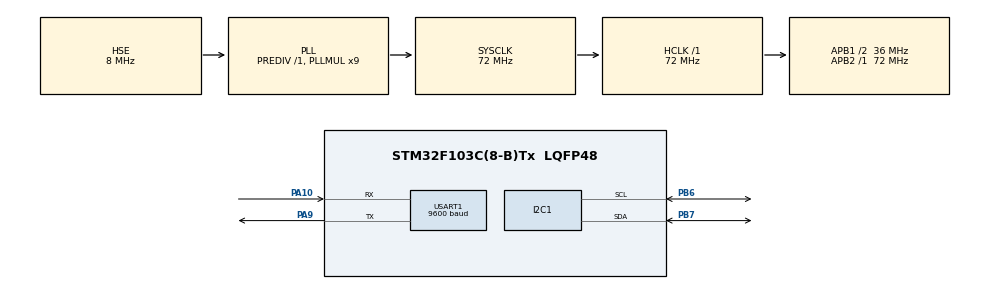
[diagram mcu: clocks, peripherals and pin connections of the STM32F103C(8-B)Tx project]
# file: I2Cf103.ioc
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Mcu.Family=STM32F1
Mcu.Name=STM32F103C(8-B)Tx
Mcu.Package=LQFP48
NVIC.PriorityGroup=NVIC_PRIORITYGROUP_4
NVIC.USART1_IRQn=true\:0\:0\:false\:false\:true\:true\:true\:true
PA10.Mode=Asynchronous
PA10.Signal=USART1_RX
PA13.Mode=Serial_Wire
PA13.Signal=SYS_JTMS-SWDIO
PA14.Mode=Serial_Wire
PA14.Signal=SYS_JTCK-SWCLK
PA9.Mode=Asynchronous
PA9.Signal=USART1_TX
PB6.Mode=I2C
PB6.Signal=I2C1_SCL
PB7.Mode=I2C
PB7.Signal=I2C1_SDA
PD0-OSC_IN.Mode=HSE-External-Oscillator
PD0-OSC_IN.Signal=RCC_OSC_IN
PD1-OSC_OUT.Mode=HSE-External-Oscillator
PD1-OSC_OUT.Signal=RCC_OSC_OUT
ProjectManager.HeapSize=0x200
ProjectManager.StackSize=0x400
ProjectManager.TargetToolchain=Makefile
RCC.AHBFreq_Value=72000000
RCC.APB1CLKDivider=RCC_HCLK_DIV2
RCC.APB1Freq_Value=36000000
RCC.APB1TimFreq_Value=72000000
RCC.APB2Freq_Value=72000000
RCC.APB2TimFreq_Value=72000000
RCC.HCLKFreq_Value=72000000
RCC.PLLMUL=RCC_PLL_MUL9
RCC.PLLSourceVirtual=RCC_PLLSOURCE_HSE
RCC.SYSCLKFreq_VALUE=72000000
RCC.SYSCLKSource=RCC_SYSCLKSOURCE_PLLCLK
RCC.USBFreq_Value=72000000
USART1.BaudRate=9600
USART1.VirtualMode=VM_ASYNC
board=custom

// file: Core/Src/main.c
/* USER CODE BEGIN Header */
/**
  ******************************************************************************
  * @file           : main.c
  * @brief          : Main program body
  ******************************************************************************
  * @attention
  *
  * Copyright (c) 2024 STMicroelectronics.
  * All rights reserved.
  *
  * This software is licensed under terms that can be found in the LICENSE file
  * in the root directory of this software component.
  * If no LICENSE file comes with this software, it is provided AS-IS.
  *
  ******************************************************************************
  */
/* USER CODE END Header */
#include "main.h"

/* USER CODE BEGIN Includes */
#include<stdio.h>
#include"string.h"
#include"stdbool.h"
/* USER CODE END Includes */

I2C_HandleTypeDef hi2c1;

UART_HandleTypeDef huart1;

void SystemClock_Config(void);
static void MX_GPIO_Init(void);
static void MX_I2C1_Init(void);
static void MX_USART1_UART_Init(void);

/* USER CODE BEGIN 0 */
const uint8_t DS1307_ADDRESS_WRITE =  0xD0;
const uint8_t DS1307_ADDRESS_READ =  0xD1;
const uint8_t F8574_ADDRESS = 0x4E;
uint8_t res[50];
int rx_index = 0;
uint8_t data_buffer[9];
uint8_t data_receive;
bool IT_flag = 0;
uint32_t last_time_IT = 0;

uint8_t Dec_to_BCD(uint8_t dec) {
    return ((dec / 10) << 4) | (dec % 10);
}

uint8_t BCD_to_Dec(uint8_t bcd) {
    return ((bcd >> 4) * 10) + (bcd & 0x0F);
}
void DS1307_SetTime(uint8_t hours, uint8_t minutes, uint8_t seconds)
{
    uint8_t data[4];

	data[0] = 0x00;
    data[1] = Dec_to_BCD(seconds);
	data[2] = Dec_to_BCD(minutes);
    data[3] = Dec_to_BCD(hours);

	HAL_I2C_Master_Transmit(&hi2c1,DS1307_ADDRESS_WRITE , &data[0], 4, 100);

}

void DS1307_SetDate(uint8_t day, uint8_t month, uint16_t year)
{
    uint8_t data[4];

	data[0] = 0x04;
    data[1] = Dec_to_BCD(day);
    data[2] = Dec_to_BCD(month);
	data[3] = Dec_to_BCD(year);

	HAL_I2C_Master_Transmit(&hi2c1, DS1307_ADDRESS_WRITE , &data[0], 4, 100);
}

void DS1307_GetTime(uint8_t *hours, uint8_t *minutes, uint8_t *seconds)
{
    uint8_t data[3];
	uint8_t reg = 0x00;

	HAL_I2C_Master_Transmit(&hi2c1, DS1307_ADDRESS_WRITE , &reg, 1, 10);
	HAL_I2C_Master_Receive(&hi2c1, DS1307_ADDRESS_READ, &data[0], 3, 50);
    *seconds = BCD_to_Dec(data[0]);
	*minutes = BCD_to_Dec(data[1]);
    *hours   = BCD_to_Dec(data[2]);
}

void DS1307_GetDate(uint8_t *day, uint8_t *month, uint16_t *year)
{
    uint8_t data[3];
	uint8_t reg = 0x04;

	HAL_I2C_Master_Transmit(&hi2c1, DS1307_ADDRESS_WRITE,&reg, 1, 100);
	HAL_I2C_Master_Receive(&hi2c1, DS1307_ADDRESS_READ, &data[0], 3, 100);
    *day    = BCD_to_Dec(data[0]);
    *month  = BCD_to_Dec(data[1]);
    *year   = 2000 + BCD_to_Dec(data[2]);
}

void lcd_send_cmd(uint8_t cmd)
{
    uint8_t data_u, data_l;
    uint8_t data_t[4];

    data_u = (cmd & 0xF0);
	data_l = (cmd << 4);
    data_t[0] = data_u | 0x0C;
	data_t[1] = data_u | 0x08;

	data_t[2] = data_l | 0x0C;
	data_t[3] = data_l | 0x08;

    HAL_I2C_Master_Transmit(&hi2c1,F8574_ADDRESS , data_t, 4, 100);
}

void lcd_send_data(uint8_t data)
{
    uint8_t data_u, data_l;
    uint8_t data_t[4];

    data_u = (data & 0xF0);
	data_l = (data << 4);

	data_t[0] = data_u | 0x0D;
	data_t[1] = data_u | 0x09;

	data_t[2] = data_l | 0x0D;
	data_t[3] = data_l | 0x09;

    HAL_I2C_Master_Transmit(&hi2c1, F8574_ADDRESS , data_t, 4, 100);
}

void lcd_init(void) {

    HAL_Delay(50);

    lcd_send_cmd(0x30);
    HAL_Delay(5);
    lcd_send_cmd(0x30);
    HAL_Delay(1);
    lcd_send_cmd(0x30);
    HAL_Delay(10);

    lcd_send_cmd(0x20);
    HAL_Delay(10);

    lcd_send_cmd(0x28);
    HAL_Delay(1);
    lcd_send_cmd(0x08);
    HAL_Delay(1);
    lcd_send_cmd(0x01);
    HAL_Delay(1);
    lcd_send_cmd(0x06);
    HAL_Delay(1);
    lcd_send_cmd(0x0C);
}

void lcd_clear(void)
{
    lcd_send_cmd(0x01);
	HAL_Delay(2);
}

void lcd_put_cur(int row, int col)
{
    uint8_t addr = (row == 0) ? (0x80 + col) : (0xC0 + col);
	lcd_send_cmd(addr);
}

void lcd_send_string(char *str)
{
    while (*str)
    {
        lcd_send_data(*str++);
	}
}

bool check_len_data(int rx_index)
{
	int buffer_len = rx_index;
	if(buffer_len  < 8)
	{
		strcpy((char*)res,"Error: Thieu du lieu\r\n");
		return 0;
	}else if(buffer_len > 8)
	{
		strcpy((char*)res,"Error: Thua du lieur\r\n");
		return 0;
	}
	return 1;
}

bool check_form_data(uint8_t buffer[])
{
	if(buffer[0] == '*' && buffer[strlen((char*)buffer) - 1] == '#')
	{
		return 1;
	}

	strcpy((char*)res,"Error: Sai cu phap\r\n");
	return 0;
}

bool is_leap_year(uint16_t year)
{
	if(year % 4 == 0 && year % 100 != 0)
	{
		return 1;
	}

	if(year % 400 == 0)
	{
		return 1;
	}
	return 0;
}

uint8_t days_in_feb(uint16_t year)
{
	if(is_leap_year(year) == 1)
	{
		return 29;
	}

	return 28;

}

bool is_valid_date(uint8_t day, uint8_t month, uint16_t year)
{
	if(year < 0)
	{
		strcpy((char*)res,"Error: Nam khong hop le\r\n");
		return 0;
	}

	if(month < 1 || month > 12)
	{
		strcpy((char*)res,"Error: Thang khong hop le\r\n");
		return 0;
	}

	uint8_t days_in_year[12] = {31,days_in_feb(year), 31, 30, 31, 30, 31, 31, 30, 31, 30, 31};

	if(day < 1 || day > days_in_year[month - 1])
	{
		strcpy((char*)res,"Error: Ngay khong hop le\r\n");
		return 0;
	}

	return 1;
}

bool is_valid_time(uint8_t hours, uint8_t minutes, uint8_t seconds)
{
	if(hours < 0 || hours > 23)
	{
		strcpy((char*)res,"Error: Gio khong hop le\r\n");
		return 0;
	}

	if(minutes < 0 || minutes > 59)
	{
		strcpy((char*)res,"Phut khong hop le\r\n");
		return 0;
	}

	if(seconds < 0 || seconds > 59)
	{
		strcpy((char*)res,"Giay khong hop le\r\n");
		return 0;
	}

	return 1;

}

void check_valid_data(uint8_t buffer[])
{
	uint8_t day = buffer[1];
	uint8_t month = buffer[2];
	uint8_t year = buffer[3];
	uint8_t hours = buffer[4];
	uint8_t minutes = buffer[5];
	uint8_t seconds = buffer[6];

	if(check_len_data(rx_index) == 1 && check_form_data(buffer) == 1 && is_valid_date(day,month,year) == 1 &&
			is_valid_time(hours,minutes,seconds) == 1)
	{
		DS1307_SetTime(hours, minutes, seconds);
		DS1307_SetDate(day, month, year);
	}else
	{
		HAL_UART_Transmit(&huart1, res, strlen((char*)res), 100);
	}
}

void get_seconds(uint8_t* seconds)
{
	uint8_t buffer;
	uint8_t sec = 0x02;

	//HAL_I2C_Mem_Read(&hi2c1, DS1307_ADDRESS_READ,0x00,1,&buffer,1,10);
	HAL_I2C_Master_Transmit(&hi2c1,DS1307_ADDRESS_WRITE,&sec,1,10);
	HAL_I2C_Master_Receive(&hi2c1,DS1307_ADDRESS_READ,&buffer,1,10);
	*seconds = BCD_to_Dec(buffer & 0x7F);
}
/* USER CODE END 0 */

int main(void)
{

  /* MCU Configuration--------------------------------------------------------*/

  /* Reset of all peripherals, Initializes the Flash interface and the Systick. */
  HAL_Init();

  /* Configure the system clock */
  SystemClock_Config();

  /* Initialize all configured peripherals */
  MX_GPIO_Init();
  MX_I2C1_Init();
  MX_USART1_UART_Init();
  /* USER CODE BEGIN 2 */
	uint8_t seconds;
	uint8_t minutes;
	uint8_t hours;
	uint8_t day;
	uint8_t month;
	uint16_t year;

	char date_to_display_lcd[100];
	char time_to_display_lcd[100];
	lcd_init();
	lcd_put_cur(0,0);
	lcd_send_string("hello");
	uint8_t time[3] = {4,0,0};
	uint8_t date[3] = {15,10,24};

	DS1307_SetTime(time[0],time[1],time[2]);
	DS1307_SetDate(date[0],date[1],date[2]);

	HAL_UART_Receive_IT(&huart1,&data_receive,1);
  /* USER CODE END 2 */

  /* Infinite loop */
  while (1)
  {

    /* USER CODE BEGIN 3 */
	if(IT_flag == 1 && (HAL_GetTick() - last_time_IT) > 50)
	{
		IT_flag = 0;
		check_valid_data(data_buffer);
		rx_index = 0;
	}

	DS1307_GetTime(&hours, &minutes, &seconds);
	DS1307_GetDate(&day, &month, &year);

	sprintf(date_to_display_lcd, "date: %02d/%02d/%d",day,month,year);
	sprintf(time_to_display_lcd, "time: %02d:%02d:%02d",hours,minutes,seconds);

	lcd_clear();
	lcd_put_cur(0,0);
	lcd_send_string(date_to_display_lcd);
	lcd_put_cur(1,0);
	lcd_send_string(time_to_display_lcd);

	HAL_Delay(1000);
  }
  /* USER CODE END 3 */
}

void SystemClock_Config(void)
{
  RCC_OscInitTypeDef RCC_OscInitStruct = {0};
  RCC_ClkInitTypeDef RCC_ClkInitStruct = {0};

  /** Initializes the RCC Oscillators according to the specified parameters
  * in the RCC_OscInitTypeDef structure.
  */
  RCC_OscInitStruct.OscillatorType = RCC_OSCILLATORTYPE_HSE;
  RCC_OscInitStruct.HSEState = RCC_HSE_ON;
  RCC_OscInitStruct.HSEPredivValue = RCC_HSE_PREDIV_DIV1;
  RCC_OscInitStruct.HSIState = RCC_HSI_ON;
  RCC_OscInitStruct.PLL.PLLState = RCC_PLL_ON;
  RCC_OscInitStruct.PLL.PLLSource = RCC_PLLSOURCE_HSE;
  RCC_OscInitStruct.PLL.PLLMUL = RCC_PLL_MUL9;
  if (HAL_RCC_OscConfig(&RCC_OscInitStruct) != HAL_OK)
  {
    Error_Handler();
  }

  /** Initializes the CPU, AHB and APB buses clocks
  */
  RCC_ClkInitStruct.ClockType = RCC_CLOCKTYPE_HCLK|RCC_CLOCKTYPE_SYSCLK
                              |RCC_CLOCKTYPE_PCLK1|RCC_CLOCKTYPE_PCLK2;
  RCC_ClkInitStruct.SYSCLKSource = RCC_SYSCLKSOURCE_PLLCLK;
  RCC_ClkInitStruct.AHBCLKDivider = RCC_SYSCLK_DIV1;
  RCC_ClkInitStruct.APB1CLKDivider = RCC_HCLK_DIV2;
  RCC_ClkInitStruct.APB2CLKDivider = RCC_HCLK_DIV1;

  if (HAL_RCC_ClockConfig(&RCC_ClkInitStruct, FLASH_LATENCY_2) != HAL_OK)
  {
    Error_Handler();
  }
}

static void MX_I2C1_Init(void)
{

  hi2c1.Instance = I2C1;
  hi2c1.Init.ClockSpeed = 100000;
  hi2c1.Init.DutyCycle = I2C_DUTYCYCLE_2;
  hi2c1.Init.OwnAddress1 = 0;
  hi2c1.Init.AddressingMode = I2C_ADDRESSINGMODE_7BIT;
  hi2c1.Init.DualAddressMode = I2C_DUALADDRESS_DISABLE;
  hi2c1.Init.OwnAddress2 = 0;
  hi2c1.Init.GeneralCallMode = I2C_GENERALCALL_DISABLE;
  hi2c1.Init.NoStretchMode = I2C_NOSTRETCH_DISABLE;
  if (HAL_I2C_Init(&hi2c1) != HAL_OK)
  {
    Error_Handler();
  }

}

static void MX_USART1_UART_Init(void)
{

  huart1.Instance = USART1;
  huart1.Init.BaudRate = 9600;
  huart1.Init.WordLength = UART_WORDLENGTH_8B;
  huart1.Init.StopBits = UART_STOPBITS_1;
  huart1.Init.Parity = UART_PARITY_NONE;
  huart1.Init.Mode = UART_MODE_TX_RX;
  huart1.Init.HwFlowCtl = UART_HWCONTROL_NONE;
  huart1.Init.OverSampling = UART_OVERSAMPLING_16;
  if (HAL_UART_Init(&huart1) != HAL_OK)
  {
    Error_Handler();
  }

}

static void MX_GPIO_Init(void)
{

  /* GPIO Ports Clock Enable */
  __HAL_RCC_GPIOD_CLK_ENABLE();
  __HAL_RCC_GPIOA_CLK_ENABLE();
  __HAL_RCC_GPIOB_CLK_ENABLE();

}

void Error_Handler(void)
{
  __disable_irq();
  while (1)
  {
  }
}
